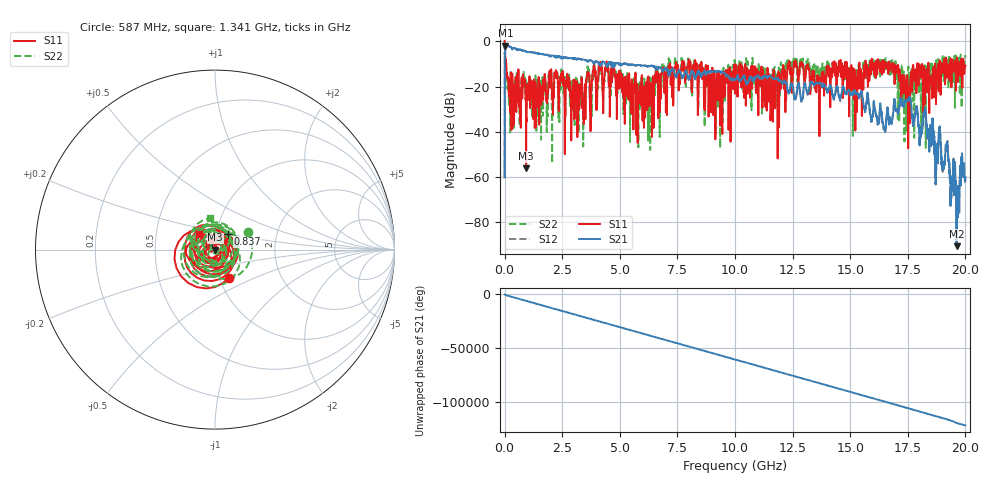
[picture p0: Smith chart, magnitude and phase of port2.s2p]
! MS46122B
! 2250307/22442219
! 2/18/2026 2:13:41 PM
! C:\USERS\SPARKY\DOCUMENTS\VNA_DATA\FEB18_2026\7K2\PORT2.S2P
! CHANNEL.1
! TR.MEASUREMENT
! RAW.DATA
# GHZ S RI R 50.0
! FREQ.GHZ  S11RE  S11IM  S21RE  S21IM  S12RE  S12IM  S22RE  S22IM
!; PortSelection: Port_12
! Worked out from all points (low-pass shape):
!   10001 points, 1 MHz to 20 GHz, reference 50 ohm
!   highest |S21| = -1.87 dB at 33 MHz (marker M1); lowest = -90.6 dB at 19.62 GHz (marker M2)
!   |S21| within 3 dB of the highest: 19.96 MHz to 1.17 GHz (1.151 GHz wide, 193 % of centre); 1.194 GHz to 1.202 GHz (7.867 MHz wide, 0.657 % of centre)
!   lowest |S11| = -56.2 dB at 935 MHz (marker M3), VSWR 1.00, Z = 50.1 - j0.0567 ohm
!   |S11| at or under -10 dB: 75.31 MHz to 3.877 GHz (3.801 GHz wide, 192 % of centre); 4.699 GHz to 7.169 GHz (2.47 GHz wide, 41.6 % of centre); 10.24 GHz to 12.3 GHz (2.056 GHz wide, 18.2 % of centre) (the widest 3 of 62)
!   |S22| runs from -54.0 to -0.1 dB; largest |S21 - S12| = 0.064
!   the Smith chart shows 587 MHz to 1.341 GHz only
!   S11 on the Smith chart (normalised r, x): 587 MHz: 1.11, -0.36; 837 MHz: 1.14, +0.20; 1.341 GHz: 0.82, +0.14
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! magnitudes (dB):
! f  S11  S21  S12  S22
! 1 MHz  0.4  -60.2  -60.2  -0.1
! 33 MHz  -8.9  -1.9  -2.2  -11.0
! 107 MHz  -14.4  -2.0  -2.1  -14.1
! 587 MHz  -15.2  -3.7  -3.7  -13.7
! 837 MHz  -18.8  -4.2  -4.1  -15.8
! 935 MHz  -56.2  -4.4  -4.4  -23.0
! 1.341 GHz  -18.1  -5.3  -5.3  -15.1
! 2.235 GHz  -14.0  -6.8  -6.8  -15.0
! 3.335 GHz  -17.1  -8.0  -8.1  -17.2
! 4.135 GHz  -10.8  -10.1  -10.2  -11.9
! 6.075 GHz  -21.5  -10.7  -10.7  -20.5
! 6.669 GHz  -26.3  -11.4  -11.4  -27.5
! 7.989 GHz  -8.1  -16.8  -17.0  -10.3
! 9.361 GHz  -18.3  -13.4  -13.3  -32.3
! 10 GHz  -21.4  -17.0  -16.3  -9.4
! 13.33 GHz  -17.9  -17.9  -18.1  -14.4
! 15.18 GHz  -13.2  -22.6  -22.6  -23.5
! 16.67 GHz  -10.9  -34.8  -34.8  -10.3
! 17.55 GHz  -20.3  -25.4  -25.2  -15.8
! 19.21 GHz  -15.2  -45.1  -45.2  -8.9
! 19.62 GHz  -8.1  -90.6  -86.3  -12.9
! 20 GHz  -10.8  -60.0  -60.8  -6.1
